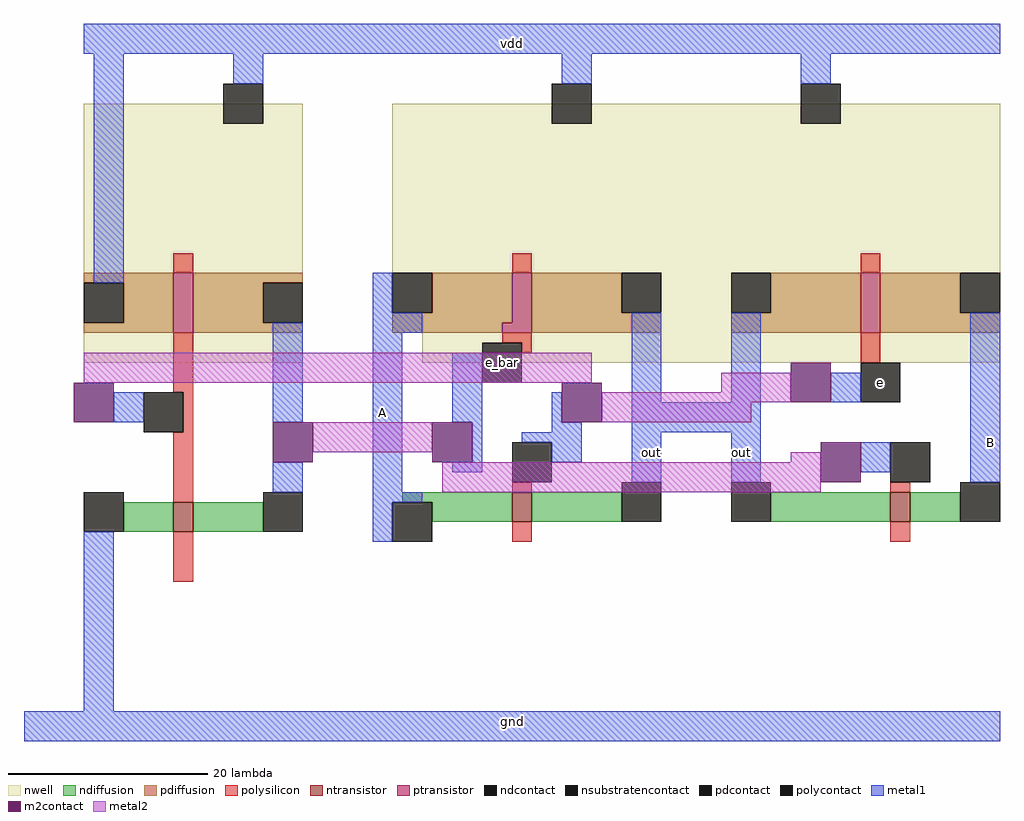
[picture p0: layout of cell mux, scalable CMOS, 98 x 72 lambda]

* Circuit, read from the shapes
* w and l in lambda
.subckt mux A B e e_bar gnd out vdd
M1 e_bar e gnd VSUBS nfet w=3 l=2
M2 out e A VSUBS nfet w=3 l=2
M3 B e_bar out VSUBS nfet w=3 l=2
M4 e_bar e vdd vdd pfet w=6 l=2
M5 A e_bar out vdd pfet w=6.5 l=2
M6 B e out vdd pfet w=6 l=2
.ends

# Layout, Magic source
magic
tech scmos
<< nwell >>
rect -31 38 -9 64
rect 0 41 61 64
rect 3 38 61 41
<< polysilicon >>
rect -22 47 -20 49
rect 12 47 14 49
rect 47 47 49 49
rect -22 35 -20 41
rect 11 40 14 41
rect 13 39 14 40
rect 47 38 49 41
rect -21 31 -20 35
rect -22 24 -20 31
rect 12 25 14 26
rect -22 16 -20 21
rect 50 25 52 26
rect 12 20 14 22
rect 50 20 52 22
<< ndiffusion >>
rect -27 21 -22 24
rect -20 21 -13 24
rect 1 24 12 25
rect 4 22 12 24
rect 14 22 23 25
rect 38 22 50 25
rect 52 22 57 25
<< pdiffusion >>
rect -31 46 -22 47
rect -27 42 -22 46
rect -31 41 -22 42
rect -20 46 -9 47
rect -20 42 -13 46
rect -20 41 -9 42
rect 4 43 12 47
rect 0 42 12 43
rect 14 43 23 47
rect 0 41 11 42
rect 14 41 27 43
rect 38 43 47 47
rect 34 41 47 43
rect 49 43 57 47
rect 49 41 61 43
<< metal1 >>
rect -31 69 61 72
rect -30 46 -27 69
rect -16 66 -13 69
rect 17 66 20 69
rect 41 66 44 69
rect -28 32 -25 35
rect -12 32 -9 42
rect -2 43 0 47
rect -2 41 3 43
rect -12 25 -9 28
rect -2 25 1 41
rect 6 32 9 39
rect 8 28 9 32
rect 16 32 17 35
rect 24 34 27 43
rect 34 34 37 43
rect 44 34 47 37
rect 16 31 19 32
rect 13 30 19 31
rect 6 27 9 28
rect 16 28 19 30
rect 24 31 37 34
rect 24 26 27 31
rect -2 24 3 25
rect -31 3 -28 21
rect -2 20 0 24
rect 34 26 37 31
rect 47 27 50 30
rect 58 26 61 43
rect -37 0 61 3
<< metal2 >>
rect -31 36 20 39
rect 33 35 40 37
rect 21 34 40 35
rect 21 32 36 34
rect -8 29 4 32
rect 40 28 43 29
rect 5 25 43 28
<< ntransistor >>
rect -22 21 -20 24
rect 12 22 14 25
rect 50 22 52 25
<< ptransistor >>
rect -22 41 -20 47
rect 12 42 14 47
rect 11 41 14 42
rect 47 41 49 47
<< polycontact >>
rect 9 36 13 40
rect -25 31 -21 35
rect 47 34 51 38
rect 12 26 16 30
rect 50 26 54 30
<< ndcontact >>
rect -31 21 -27 25
rect -13 21 -9 25
rect 0 20 4 24
rect 23 22 27 26
rect 34 22 38 26
rect 57 22 61 26
<< pdcontact >>
rect -31 42 -27 46
rect -13 42 -9 46
rect 0 43 4 47
rect 23 43 27 47
rect 34 43 38 47
rect 57 43 61 47
<< m2contact >>
rect -32 32 -28 36
rect -12 28 -8 32
rect 4 28 8 32
rect 17 32 21 36
rect 40 34 44 38
rect 43 26 47 30
<< nsubstratencontact >>
rect -17 62 -13 66
rect 16 62 20 66
rect 41 62 45 66
<< labels >>
rlabel metal1 26 29 26 29 7 out
rlabel metal1 12 70 12 70 5 vdd
rlabel metal1 12 2 12 2 1 gnd
rlabel metal1 35 29 35 29 3 out
rlabel metal1 60 30 60 30 7 B
rlabel polycontact 49 36 49 36 1 e
rlabel polycontact 11 38 11 38 1 e_bar
rlabel metal1 -1 33 -1 33 1 A
<< end >>
